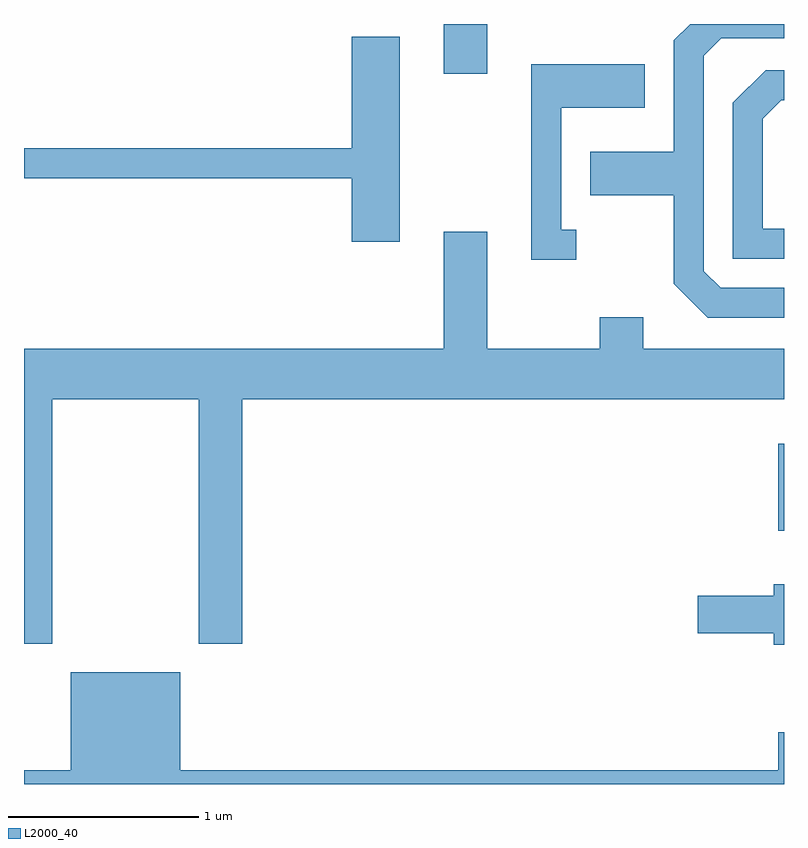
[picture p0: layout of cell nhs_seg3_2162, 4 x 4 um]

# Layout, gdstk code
import gdstk
lib = gdstk.Library(unit=1e-6, precision=1e-09)
def R(c, l, rs):  # rectangles x0, y0, x1, y1
    for r in rs: c.add(gdstk.rectangle(r[:2], r[2:], *l))
def P(c, l, *ps):  # polygons
    for p in ps: c.add(gdstk.Polygon(p, *l))
L2000_40 = (2000, 40)

nhs_seg3_2162 = lib.new_cell('nhs_seg3_2162')
R(nhs_seg3_2162, L2000_40, [(251.581,1225.226,251.611,1225.684), (249.821,1227.631,250.049,1227.892)])
P(nhs_seg3_2162, L2000_40, [(251.611,1226.504),(251.277,1226.504),(251.189,1226.592),(251.189,1227.724),(251.282,1227.816),(251.611,1227.816),(251.611,1227.892),(251.117,1227.892),(251.031,1227.807),(251.031,1227.219),(250.591,1227.219),(250.591,1226.991),(251.031,1226.991),(251.031,1226.524),(251.209,1226.346),(251.611,1226.346)],
  [(249.589,1227.824),(249.336,1227.824),(249.336,1227.239),(247.611,1227.239),(247.611,1227.081),(249.336,1227.081),(249.336,1226.746),(249.589,1226.746)],
  [(250.518,1226.809),(250.439,1226.809),(250.439,1227.451),(250.879,1227.451),(250.879,1227.679),(250.281,1227.679),(250.281,1226.651),(250.518,1226.651)],
  [(251.611,1226.814),(251.499,1226.814),(251.499,1227.394),(251.597,1227.491),(251.611,1227.491),(251.611,1227.649),(251.514,1227.649),(251.341,1227.477),(251.341,1226.656),(251.611,1226.656)],
  [(247.759,1225.916),(248.531,1225.916),(248.531,1224.631),(248.759,1224.631),(248.759,1225.916),(251.611,1225.916),(251.611,1226.184),(250.869,1226.184),(250.869,1226.349),(250.641,1226.349),(250.641,1226.184),(250.049,1226.184),(250.049,1226.799),(249.821,1226.799),(249.821,1226.184),(247.611,1226.184),(247.611,1224.631),(247.759,1224.631)],
  [(251.611,1224.944),(251.556,1224.944),(251.556,1224.884),(251.156,1224.884),(251.156,1224.686),(251.556,1224.686),(251.556,1224.626),(251.611,1224.626)],
  [(251.611,1224.164),(251.581,1224.164),(251.581,1223.964),(248.434,1223.964),(248.434,1224.479),(247.856,1224.479),(247.856,1223.964),(247.611,1223.964),(247.611,1223.892),(251.611,1223.892)])

lib.write_gds('nhs_seg3_2162.gds')
